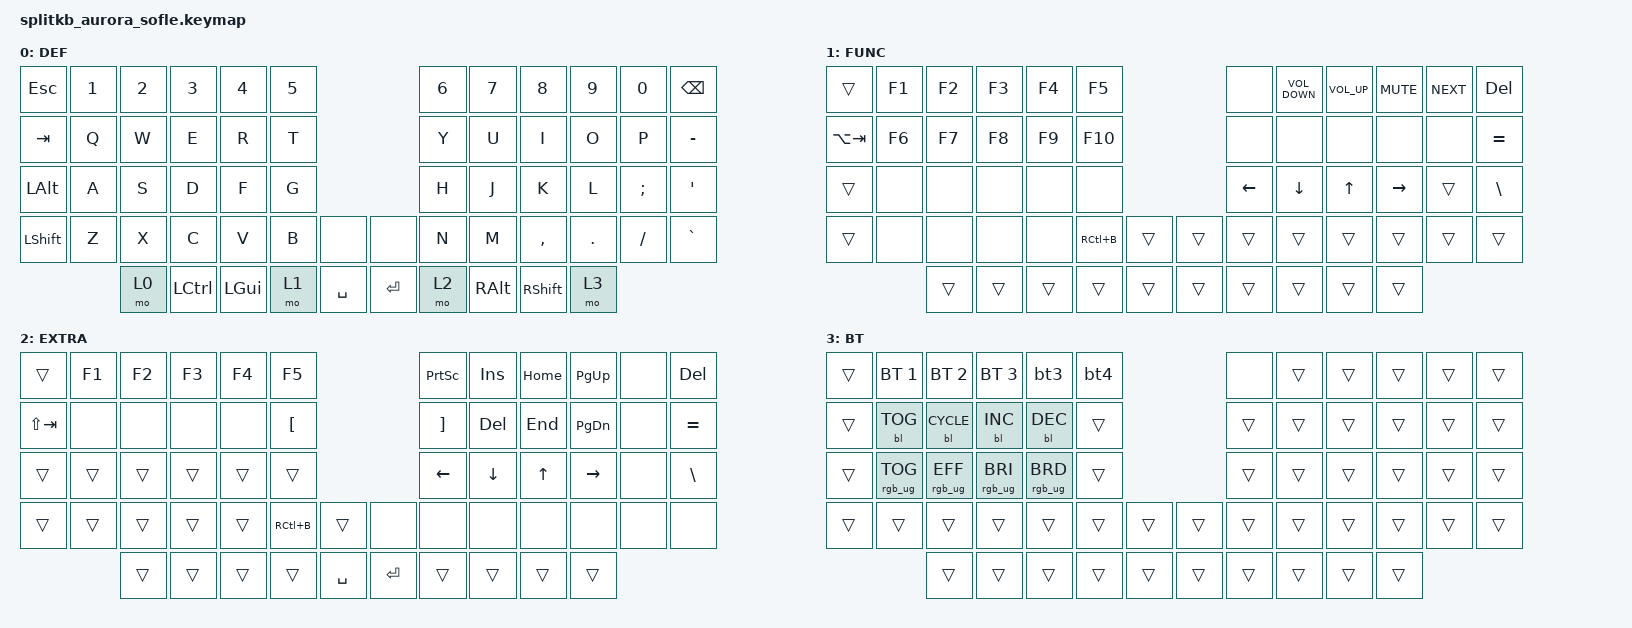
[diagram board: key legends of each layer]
/*
 * Copyright (c) 2023 The ZMK Contributors
 *
 * SPDX-License-Identifier: MIT
 */

#include <behaviors.dtsi>
#include <dt-bindings/zmk/backlight.h>
#include <dt-bindings/zmk/bt.h>
#include <dt-bindings/zmk/keys.h>
#include <dt-bindings/zmk/rgb.h>

#define MAC 0
#define MLCK 1
#define LUP  2
#define LDWN 3
#define WLCK 4
#define WLYR 5
#define BT 6

/*
  Uncomment this block if using RGB
 */

&led_strip {
    // chain-length = <6>;
    // chain-length = <35>; // Uncomment if using both per-key and underglow LEDs

    chain-length = <29>; // Uncomment if using only per-key LEDs.
};

/ {
    macros {
        btmac0: btmac0 {
            compatible = "zmk,behavior-macro";
            label = "BTMAC0";
            #binding-cells = <0>;
            bindings = <&bt BT_SEL 0 &to 0>;
        };

        btwin1: btwin1 {
            compatible = "zmk,behavior-macro";
            label = "BTWIN1";
            #binding-cells = <0>;
            bindings = <&bt BT_SEL 1 &to 0>;
        };

        bt2: bt2 {
            compatible = "zmk,behavior-macro";
            label = "BT2";
            #binding-cells = <0>;
            bindings = <&bt BT_SEL 2 &to 0>;
        };

        bt3: bt3 {
            compatible = "zmk,behavior-macro";
            label = "BT3";
            #binding-cells = <0>;
            bindings = <&bt BT_SEL 3 &to 0>;
        };

        bt4: bt4 {
            compatible = "zmk,behavior-macro";
            label = "BT4";
            #binding-cells = <0>;
            bindings = <&bt BT_SEL 4 &to 0>;
        };
    };

    behaviors {
        RPAR_TD_RBKT: RPAR_TD_RBKT {
            compatible = "zmk,behavior-tap-dance";
            label = "RPAR_TD_RBKT";
            #binding-cells = <0>;
            bindings = <&kp RPAR>, <&kp RBKT>;
        };

        LPAR_TD_LBKT: LPAR_TD_LBKT {
            compatible = "zmk,behavior-tap-dance";
            label = "LPAR_TD_LBKT";
            #binding-cells = <0>;
            bindings = <&kp LPAR>, <&kp LBKT>;
        };

        LCB_TD_LT: LCB_TD_LT {
            compatible = "zmk,behavior-tap-dance";
            label = "LCB_TD_LT";
            #binding-cells = <0>;
            bindings = <&kp LBRC>, <&kp LT>;
        };

        RCB_TD_BT: RCB_TD_BT {
            compatible = "zmk,behavior-tap-dance";
            label = "RCB_TD_BT";
            #binding-cells = <0>;
            bindings = <&kp RBRC>, <&kp GT>;
        };

        QUOTES_TD: QUOTES_TD {
            compatible = "zmk,behavior-tap-dance";
            label = "QUOTES_TD";
            #binding-cells = <0>;
            bindings = <&kp SINGLE_QUOTE>, <&kp DOUBLE_QUOTES>;
        };
    };

    keymap {
        compatible = "zmk,keymap";

        default_layer {
            // ------------------------------------------------------------------------------------------------------------
            // |  ESC  |  1  |  2  |  3   |  4   |  5   |                   |  6   |  7    |  8    |  9   |   0   |   `   |
            // |  CLAY |  Q  |  W  |  E   |  R   |  T   |                   |  Y   |  U    |  I    |  O   |   P   |   -   |
            // |  CTRL |  A  |  S  |  D   |  F   |  G   |                   |  H   |  J    |  K    |  L   |   ;   |   '   |
            // | SHIFT |  Z  |  X  |  C   |  V   |  B   |   "["  |  |  "]"  |  N   |  M    |  ,    |  .   |   /   | SHIFT |
            //               |CTRL | ALT  | GUI  | LOWER|  SPACE |  | ENTER | RAISE| BSPC  | GUI   | RALT |

            bindings = <
&kp ESCAPE    &kp N1  &kp N2  &kp N3     &kp N4        &kp N5                        &kp N6  &kp N7         &kp N8           &kp N9   &kp N0    &kp BSPC
&kp TAB       &kp Q   &kp W   &kp E      &kp R         &kp T                         &kp Y   &kp U          &kp I            &kp O    &kp P     &kp MINUS
&kp LEFT_ALT  &kp A   &kp S   &kp D      &kp F         &kp G                         &kp H   &kp J          &kp K            &kp L    &kp SEMI  &kp SINGLE_QUOTE
&kp LSHFT     &kp Z   &kp X   &kp C      &kp V         &kp B   &none        &none    &kp N   &kp M          &kp COMMA        &kp DOT  &kp FSLH  &kp GRAVE
                      &mo 0   &kp LCTRL  &kp LEFT_GUI  &mo 1   &kp SPACE    &kp RET  &mo 2   &kp RIGHT_ALT  &kp RIGHT_SHIFT  &mo 3
            >;

            label = "DEF";
        };

        fuction_layer {
            // ------------------------------------------------------------------------------------------------------------
            // | BTCLR | BT1 | BT2 |  BT3 |  BT4 |  BT5 |                   |      |       |       |      |       |       |
            // |  F1   |  F2 |  F3 |  F4  |  F5  |  F6  |                   |  F7  |  F8   |  F9   |  F10 |  F11  |  F12  |
            // |   `   |  !  |  @  |  #   |  $   |  %   |                   |  ^   |  &    |  *    |  (   |   )   |   ~   |
            // |       |     |     |      |      |      |        |  |       |      |  _    |  +    |  {   |   }   |  "|"  |
            //               |     |      |      |      |        |  |       |      |       |       |      |

            bindings = <
&trans       &kp F1  &kp F2  &kp F3  &kp F4  &kp F5                       &none     &kp K_VOLUME_DOWN  &kp K_VOLUME_UP  &kp K_MUTE  &kp K_NEXT  &kp DELETE
&kp LA(TAB)  &kp F6  &kp F7  &kp F8  &kp F9  &kp F10                      &none     &none              &none            &none       &none       &kp EQUAL
&trans       &none   &none   &none   &none   &none                        &kp LEFT  &kp DOWN           &kp UP           &kp RIGHT   &trans      &kp BACKSLASH
&trans       &none   &none   &none   &none   &kp RC(B)  &trans    &trans  &trans    &trans             &trans           &trans      &trans      &trans
                     &trans  &trans  &trans  &trans     &trans    &trans  &trans    &trans             &trans           &trans
            >;

            label = "FUNC";
        };

        win_capslock_layer {
            // ------------------------------------------------------------------------------------------------------------
            // | BTCLR | BT1 | BT2 |  BT3 |  BT4 |  BT5 |                   |      |       |       |      |       |       |
            // |  F1   |  F2 |  F3 |  F4  |  F5  |  F6  |                   |  F7  |  F8   |  F9   |  F10 |  F11  |  F12  |
            // |   `   |  !  |  @  |  #   |  $   |  %   |                   |  ^   |  &    |  *    |  (   |   )   |   ~   |
            // |       |     |     |      |      |      |        |  |       |      |  _    |  +    |  {   |   }   |  "|"  |
            //               |     |      |      |      |        |  |       |      |       |       |      |

            bindings = <
&trans       &kp F1  &kp F2  &kp F3  &kp F4  &kp F5                                    &kp PRINTSCREEN    &kp INSERT  &kp HOME  &kp PAGE_UP    &none  &kp DELETE
&kp LS(TAB)  &none   &none   &none   &none   &kp LEFT_BRACKET                          &kp RIGHT_BRACKET  &kp DELETE  &kp END   &kp PAGE_DOWN  &none  &kp EQUAL
&trans       &trans  &trans  &trans  &trans  &trans                                    &kp LEFT           &kp DOWN    &kp UP    &kp RIGHT      &none  &kp BACKSLASH
&trans       &trans  &trans  &trans  &trans  &kp RC(B)         &trans       &none      &none              &none       &none     &none          &none  &none
                     &trans  &trans  &trans  &trans            &kp SPACE    &kp ENTER  &trans             &trans      &trans    &trans
            >;

            label = "EXTRA";
        };

        BT_layer {
            bindings = <
&trans  &bt BT_SEL 1     &bt BT_SEL 2     &bt BT_SEL 3     &bt3             &bt4                      &none   &trans  &trans  &trans  &trans  &trans
&trans  &bl BL_TOG       &bl BL_CYCLE     &bl BL_INC       &bl BL_DEC       &trans                    &trans  &trans  &trans  &trans  &trans  &trans
&trans  &rgb_ug RGB_TOG  &rgb_ug RGB_EFF  &rgb_ug RGB_BRI  &rgb_ug RGB_BRD  &trans                    &trans  &trans  &trans  &trans  &trans  &trans
&trans  &trans           &trans           &trans           &trans           &trans  &trans    &trans  &trans  &trans  &trans  &trans  &trans  &trans
                         &trans           &trans           &trans           &trans  &trans    &trans  &trans  &trans  &trans  &trans
            >;

            label = "BT";
        };
    };
};
